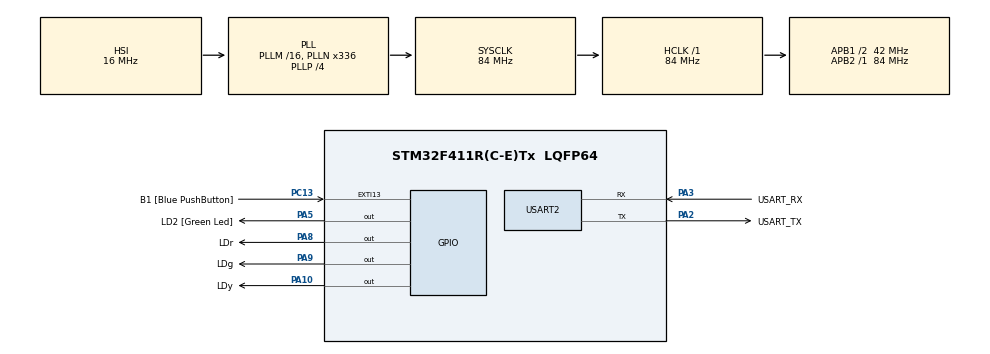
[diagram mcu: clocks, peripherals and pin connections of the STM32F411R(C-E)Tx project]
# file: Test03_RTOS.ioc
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FREERTOS.BinarySemaphores01=myBinarySem01,Dynamic,NULL
FREERTOS.Tasks01=myTask01,0,128,StartTask01,Default,NULL,Dynamic,NULL,NULL;myTask02,-1,128,StartTask02,Default,NULL,Dynamic,NULL,NULL;myTask03,-2,128,StartTask03,Default,NULL,Dynamic,NULL,NULL;myTask04,-3,128,StartTask04,Default,NULL,Dynamic,NULL,NULL
FREERTOS.configUSE_NEWLIB_REENTRANT=1
Mcu.Family=STM32F4
Mcu.Name=STM32F411R(C-E)Tx
Mcu.Package=LQFP64
NVIC.EXTI15_10_IRQn=true\:5\:0\:false\:false\:true\:true\:true\:true\:true
NVIC.PriorityGroup=NVIC_PRIORITYGROUP_4
NVIC.TIM1_TRG_COM_TIM11_IRQn=true\:15\:0\:false\:false\:true\:false\:false\:true\:true
NVIC.TimeBase=TIM1_TRG_COM_TIM11_IRQn
NVIC.TimeBaseIP=TIM11
PA10.GPIO_Label=LDy
PA10.Signal=GPIO_Output
PA13.GPIO_Label=TMS
PA13.Mode=Serial_Wire
PA13.Signal=SYS_JTMS-SWDIO
PA14.GPIO_Label=TCK
PA14.Mode=Serial_Wire
PA14.Signal=SYS_JTCK-SWCLK
PA2.GPIO_Label=USART_TX
PA2.Mode=Asynchronous
PA2.Signal=USART2_TX
PA3.GPIO_Label=USART_RX
PA3.Mode=Asynchronous
PA3.Signal=USART2_RX
PA5.GPIO_Label=LD2 [Green Led]
PA5.Signal=GPIO_Output
PA8.GPIO_Label=LDr
PA8.Signal=GPIO_Output
PA9.GPIO_Label=LDg
PA9.Signal=GPIO_Output
PB3.GPIO_Label=SWO
PB3.Signal=SYS_JTDO-SWO
PC13-ANTI_TAMP.GPIO_Label=B1 [Blue PushButton]
PC13-ANTI_TAMP.GPIO_ModeDefaultEXTI=GPIO_MODE_IT_FALLING
PC13-ANTI_TAMP.Signal=GPXTI13
PC14-OSC32_IN.Mode=LSE-External-Oscillator
PC14-OSC32_IN.Signal=RCC_OSC32_IN
PC15-OSC32_OUT.Mode=LSE-External-Oscillator
PC15-OSC32_OUT.Signal=RCC_OSC32_OUT
PH0\ -\ OSC_IN.Mode=HSE-External-Clock-Source
PH0\ -\ OSC_IN.Signal=RCC_OSC_IN
PH1\ -\ OSC_OUT.Mode=HSE-External-Clock-Source
PH1\ -\ OSC_OUT.Signal=RCC_OSC_OUT
ProjectManager.HeapSize=0x200
ProjectManager.StackSize=0x400
ProjectManager.TargetToolchain=STM32CubeIDE
RCC.48MHZClocksFreq_Value=84000000
RCC.AHBFreq_Value=84000000
RCC.APB1CLKDivider=RCC_HCLK_DIV2
RCC.APB1Freq_Value=42000000
RCC.APB1TimFreq_Value=84000000
RCC.APB2Freq_Value=84000000
RCC.APB2TimFreq_Value=84000000
RCC.CortexFreq_Value=84000000
RCC.FLatency-AdvancedSettings=FLASH_LATENCY_2
RCC.HCLKFreq_Value=84000000
RCC.HSE_VALUE=8000000
RCC.HSI_VALUE=16000000
RCC.PLLN=336
RCC.PLLP=RCC_PLLP_DIV4
RCC.SYSCLKFreq_VALUE=84000000
RCC.SYSCLKSource=RCC_SYSCLKSOURCE_PLLCLK
RCC.VCOOutputFreq_Value=336000000
USART2.VirtualMode=VM_ASYNC
VP_FREERTOS_VS_CMSIS_V1.Mode=CMSIS_V1
VP_SYS_VS_tim11.Mode=TIM11
board=NUCLEO-F411RE

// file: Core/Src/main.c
/* USER CODE BEGIN Header */
/**
  ******************************************************************************
  * @file           : main.c
  * @brief          : Main program body
  ******************************************************************************
  * @attention
  *
  * Copyright (c) 2023 STMicroelectronics.
  * All rights reserved.
  *
  * This software is licensed under terms that can be found in the LICENSE file
  * in the root directory of this software component.
  * If no LICENSE file comes with this software, it is provided AS-IS.
  *
  ******************************************************************************
  */
/* USER CODE END Header */
#include "main.h"
#include "cmsis_os.h"

UART_HandleTypeDef huart2;

osThreadId myTask01Handle;
osThreadId myTask02Handle;
osThreadId myTask03Handle;
osThreadId myTask04Handle;
osSemaphoreId myBinarySem01Handle;
/* USER CODE BEGIN PV */
#include "../../../myLib/myLib.c"
/* USER CODE END PV */

void SystemClock_Config(void);
static void MX_GPIO_Init(void);
static void MX_USART2_UART_Init(void);
void StartTask01(void const * argument);
void StartTask02(void const * argument);
void StartTask03(void const * argument);
void StartTask04(void const * argument);

/* USER CODE BEGIN 0 */
void HAL_GPIO_EXTI_Callback(uint16_t GPIO_Pin)
{
	osSemaphoreRelease(myBinarySem01Handle);
}
/* USER CODE END 0 */

int main(void)
{

  /* MCU Configuration--------------------------------------------------------*/

  /* Reset of all peripherals, Initializes the Flash interface and the Systick. */
  HAL_Init();

  /* Configure the system clock */
  SystemClock_Config();

  /* Initialize all configured peripherals */
  MX_GPIO_Init();
  MX_USART2_UART_Init();
  /* USER CODE BEGIN 2 */
//  printf("\033[1J\033[1;1HRTOS Test Program Started....\r\n");
//  printf("Press B1 button to release semaphore....\r\n");
  /* USER CODE END 2 */

  /* Create the semaphores(s) */
  /* definition and creation of myBinarySem01 */
  osSemaphoreDef(myBinarySem01);
  myBinarySem01Handle = osSemaphoreCreate(osSemaphore(myBinarySem01), 1);

  /* Create the thread(s) */
  /* definition and creation of myTask01 */
  osThreadDef(myTask01, StartTask01, osPriorityNormal, 0, 128);
  myTask01Handle = osThreadCreate(osThread(myTask01), NULL);

  /* definition and creation of myTask02 */
  osThreadDef(myTask02, StartTask02, osPriorityBelowNormal, 0, 128);
  myTask02Handle = osThreadCreate(osThread(myTask02), NULL);

  /* definition and creation of myTask03 */
  osThreadDef(myTask03, StartTask03, osPriorityLow, 0, 128);
  myTask03Handle = osThreadCreate(osThread(myTask03), NULL);

  /* definition and creation of myTask04 */
  osThreadDef(myTask04, StartTask04, osPriorityIdle, 0, 128);
  myTask04Handle = osThreadCreate(osThread(myTask04), NULL);

  while(1)

  /* Start scheduler */
  osKernelStart();

  /* We should never get here as control is now taken by the scheduler */
  /* Infinite loop */
  /* USER CODE BEGIN WHILE */
  int n = 0;
  while (1)
  {
    /* USER CODE END WHILE */

    /* USER CODE BEGIN 3 */
//	  printf("in Main procedure.....%d\r\n",n++);
	  HAL_GPIO_TogglePin(LDr_GPIO_Port, LDr_Pin);
	  HAL_GPIO_TogglePin(LDg_GPIO_Port, LDg_Pin);
	  HAL_GPIO_TogglePin(LDy_GPIO_Port, LDy_Pin);
	  HAL_Delay(200);
  }
  /* USER CODE END 3 */
}

void SystemClock_Config(void)
{
  RCC_OscInitTypeDef RCC_OscInitStruct = {0};
  RCC_ClkInitTypeDef RCC_ClkInitStruct = {0};

  /** Configure the main internal regulator output voltage
  */
  __HAL_RCC_PWR_CLK_ENABLE();
  __HAL_PWR_VOLTAGESCALING_CONFIG(PWR_REGULATOR_VOLTAGE_SCALE1);

  /** Initializes the RCC Oscillators according to the specified parameters
  * in the RCC_OscInitTypeDef structure.
  */
  RCC_OscInitStruct.OscillatorType = RCC_OSCILLATORTYPE_HSI;
  RCC_OscInitStruct.HSIState = RCC_HSI_ON;
  RCC_OscInitStruct.HSICalibrationValue = RCC_HSICALIBRATION_DEFAULT;
  RCC_OscInitStruct.PLL.PLLState = RCC_PLL_ON;
  RCC_OscInitStruct.PLL.PLLSource = RCC_PLLSOURCE_HSI;
  RCC_OscInitStruct.PLL.PLLM = 16;
  RCC_OscInitStruct.PLL.PLLN = 336;
  RCC_OscInitStruct.PLL.PLLP = RCC_PLLP_DIV4;
  RCC_OscInitStruct.PLL.PLLQ = 4;
  if (HAL_RCC_OscConfig(&RCC_OscInitStruct) != HAL_OK)
  {
    Error_Handler();
  }

  /** Initializes the CPU, AHB and APB buses clocks
  */
  RCC_ClkInitStruct.ClockType = RCC_CLOCKTYPE_HCLK|RCC_CLOCKTYPE_SYSCLK
                              |RCC_CLOCKTYPE_PCLK1|RCC_CLOCKTYPE_PCLK2;
  RCC_ClkInitStruct.SYSCLKSource = RCC_SYSCLKSOURCE_PLLCLK;
  RCC_ClkInitStruct.AHBCLKDivider = RCC_SYSCLK_DIV1;
  RCC_ClkInitStruct.APB1CLKDivider = RCC_HCLK_DIV2;
  RCC_ClkInitStruct.APB2CLKDivider = RCC_HCLK_DIV1;

  if (HAL_RCC_ClockConfig(&RCC_ClkInitStruct, FLASH_LATENCY_2) != HAL_OK)
  {
    Error_Handler();
  }
}

static void MX_USART2_UART_Init(void)
{

  huart2.Instance = USART2;
  huart2.Init.BaudRate = 115200;
  huart2.Init.WordLength = UART_WORDLENGTH_8B;
  huart2.Init.StopBits = UART_STOPBITS_1;
  huart2.Init.Parity = UART_PARITY_NONE;
  huart2.Init.Mode = UART_MODE_TX_RX;
  huart2.Init.HwFlowCtl = UART_HWCONTROL_NONE;
  huart2.Init.OverSampling = UART_OVERSAMPLING_16;
  if (HAL_UART_Init(&huart2) != HAL_OK)
  {
    Error_Handler();
  }

}

static void MX_GPIO_Init(void)
{
  GPIO_InitTypeDef GPIO_InitStruct = {0};

  /* GPIO Ports Clock Enable */
  __HAL_RCC_GPIOC_CLK_ENABLE();
  __HAL_RCC_GPIOH_CLK_ENABLE();
  __HAL_RCC_GPIOA_CLK_ENABLE();
  __HAL_RCC_GPIOB_CLK_ENABLE();

  /*Configure GPIO pin Output Level */
  HAL_GPIO_WritePin(GPIOA, LD2_Pin|LDr_Pin|LDg_Pin|LDy_Pin, GPIO_PIN_RESET);

  /*Configure GPIO pin : B1_Pin */
  GPIO_InitStruct.Pin = B1_Pin;
  GPIO_InitStruct.Mode = GPIO_MODE_IT_FALLING;
  GPIO_InitStruct.Pull = GPIO_NOPULL;
  HAL_GPIO_Init(B1_GPIO_Port, &GPIO_InitStruct);

  /*Configure GPIO pins : LD2_Pin LDr_Pin LDg_Pin LDy_Pin */
  GPIO_InitStruct.Pin = LD2_Pin|LDr_Pin|LDg_Pin|LDy_Pin;
  GPIO_InitStruct.Mode = GPIO_MODE_OUTPUT_PP;
  GPIO_InitStruct.Pull = GPIO_NOPULL;
  GPIO_InitStruct.Speed = GPIO_SPEED_FREQ_LOW;
  HAL_GPIO_Init(GPIOA, &GPIO_InitStruct);

  /* EXTI interrupt init*/
  HAL_NVIC_SetPriority(EXTI15_10_IRQn, 5, 0);
  HAL_NVIC_EnableIRQ(EXTI15_10_IRQn);

}

void StartTask01(void const * argument)
{
  /* USER CODE BEGIN 5 */
  /* Infinite loop */
//	int n=0;
	for(;;)
  {
	if(osSemaphoreWait(myBinarySem01Handle,0) == osOK)
	  {
//		printf("\033[3;1Hin default Task.......%d   \r\n",n++);
		HAL_GPIO_TogglePin(LDr_GPIO_Port, LDr_Pin);HAL_Delay(200);
//		HAL_GPIO_WritePin(LDr_GPIO_Port, LDr_Pin,1);HAL_Delay(200);
//		HAL_GPIO_WritePin(LDr_GPIO_Port, LDr_Pin,0);HAL_Delay(200);
		osSemaphoreRelease(myBinarySem01Handle);
	  }
	osDelay(1);
  }
  /* USER CODE END 5 */
}

void StartTask02(void const * argument)
{
  /* USER CODE BEGIN StartTask02 */
  /* Infinite loop */
//  int n=0;
	for(;;)
  {
		if(osSemaphoreWait(myBinarySem01Handle,0) == osOK)
			  {
//	  printf("\033[5;1Hin Task2.......%d   \r\n",n++);
	  HAL_GPIO_TogglePin(LDg_GPIO_Port, LDg_Pin);HAL_Delay(200);
//	  HAL_GPIO_WritePin(LDy_GPIO_Port, LDy_Pin,1);HAL_Delay(200);
//	  HAL_GPIO_WritePin(LDy_GPIO_Port, LDy_Pin,0);HAL_Delay(200);
	  osSemaphoreRelease(myBinarySem01Handle);
			  }
	  osDelay(1);
  }
  /* USER CODE END StartTask02 */
}

void StartTask03(void const * argument)
{
  /* USER CODE BEGIN StartTask03 */
  /* Infinite loop */
//	int n=0;
	for(;;)
  {
		if(osSemaphoreWait(myBinarySem01Handle,0) == osOK)
					  {
//	  printf("\033[7;1Hin Task3.......%d   \r\n",n++);
	  HAL_GPIO_TogglePin(LDy_GPIO_Port, LDy_Pin);HAL_Delay(200);
//	  HAL_GPIO_WritePin(LDg_GPIO_Port, LDg_Pin,1);HAL_Delay(200);
//	  HAL_GPIO_WritePin(LDg_GPIO_Port, LDg_Pin,0);HAL_Delay(200);
	  osSemaphoreRelease(myBinarySem01Handle);
	  			  }
	  osDelay(1);
  }
  /* USER CODE END StartTask03 */
}

void StartTask04(void const * argument)
{
  for(;;)
  {
    osDelay(1);
  }
}

void HAL_TIM_PeriodElapsedCallback(TIM_HandleTypeDef *htim)
{
  if (htim->Instance == TIM11) {
    HAL_IncTick();
  }
}

void Error_Handler(void)
{
  __disable_irq();
  while (1)
  {
  }
}
